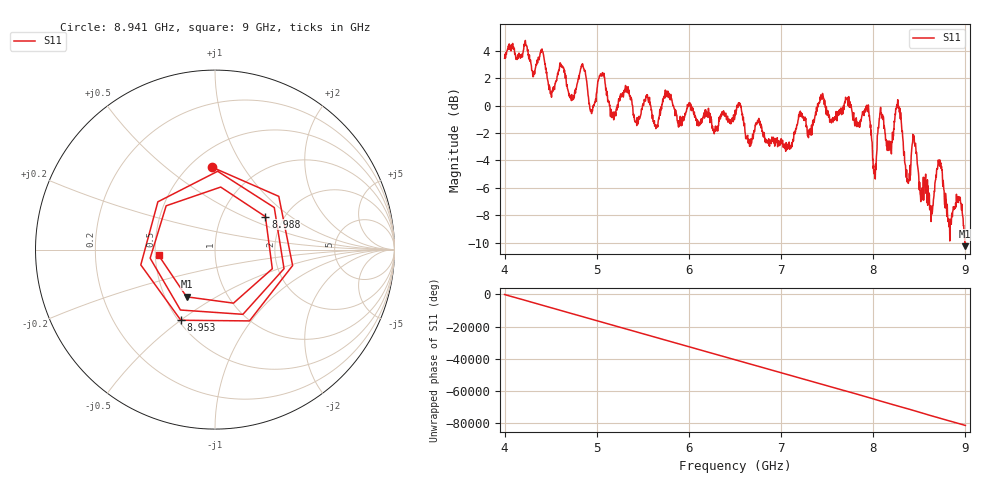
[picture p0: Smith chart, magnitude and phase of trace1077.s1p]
! Created with skrf 1.8.0 (http://scikit-rf.org).
# Hz S RI R 50.0
!freq ReS11 ImS11
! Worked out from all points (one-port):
!   1601 points, 4 GHz to 9 GHz, reference 50 ohm
!   lowest |S11| = -10.3 dB at 8.997 GHz (marker M1), VSWR 1.89, Z = 32.1 - j18.6 ohm
!   |S11| at or under -10 dB: 8.99391 GHz to end of sweep
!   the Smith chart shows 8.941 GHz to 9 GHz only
!   S11 on the Smith chart (normalised r, x): 8.941 GHz: 0.64, +0.74; 8.953 GHz: 0.51, -0.50; 8.988 GHz: 1.61, +0.67; 9 GHz: 0.52, -0.04
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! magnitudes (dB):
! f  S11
! 4 GHz  3.5
! 4.406 GHz  4.1
! 4.506 GHz  0.8
! 4.625 GHz  2.9
! 4.725 GHz  0.4
! 4.847 GHz  3.0
! 4.941 GHz  -0.5
! 5.053 GHz  2.2
! 5.25 GHz  0.4
! 5.875 GHz  -1.1
! 6.5 GHz  -0.7
! 7.125 GHz  -2.7
! 7.75 GHz  0.2
! 7.938 GHz  -0.2
! 8.016 GHz  -4.8
! 8.078 GHz  -0.2
! 8.175 GHz  -3.1
! 8.272 GHz  -0.2
! 8.375 GHz  -5.4
! 8.444 GHz  -2.3
! 8.625 GHz  -7.5
! 8.716 GHz  -4.2
! 8.822 GHz  -8.8
! 8.941 GHz  -6.8
! 8.953 GHz  -7.2
! 8.988 GHz  -9.5
! 8.997 GHz  -10.3
! 9 GHz  -10.0
